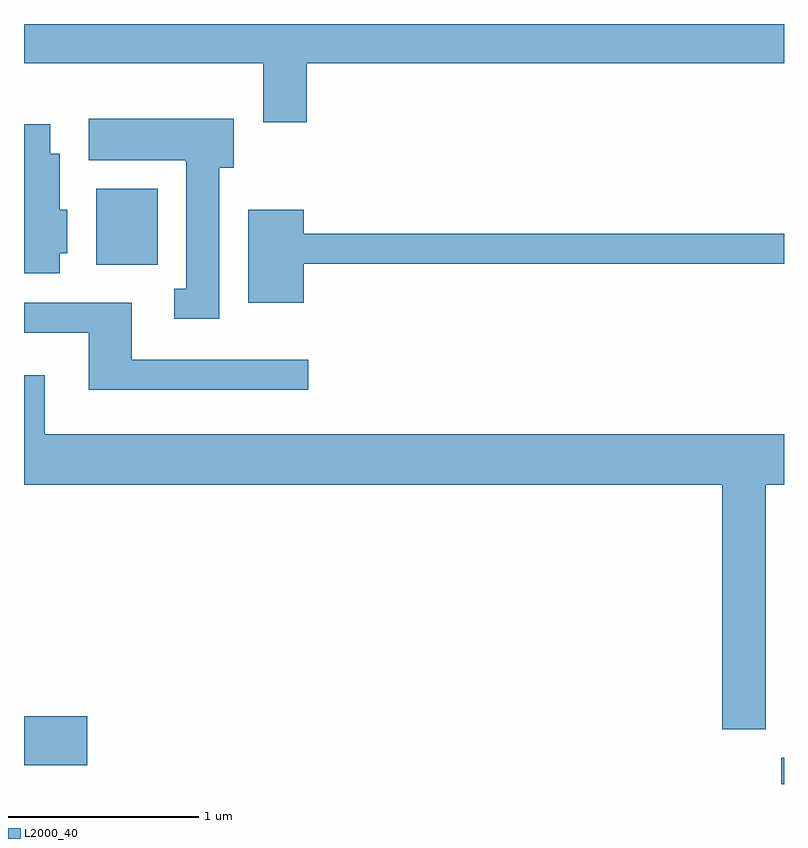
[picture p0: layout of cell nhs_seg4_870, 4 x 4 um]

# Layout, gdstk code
import gdstk
lib = gdstk.Library(unit=1e-6, precision=1e-09)
def R(c, l, rs):  # rectangles x0, y0, x1, y1
    for r in rs: c.add(gdstk.rectangle(r[:2], r[2:], *l))
def P(c, l, *ps):  # polygons
    for p in ps: c.add(gdstk.Polygon(p, *l))
L2000_40 = (2000, 40)

nhs_seg4_870 = lib.new_cell('nhs_seg4_870')
R(nhs_seg4_870, L2000_40, [(213.596,1361.982,213.611,1362.119), (209.611,1362.081,209.944,1362.339), (209.991,1364.716,210.314,1365.114)])
P(nhs_seg4_870, L2000_40, [(211.099,1365.776),(213.611,1365.776),(213.611,1365.982),(209.611,1365.982),(209.611,1365.776),(210.871,1365.776),(210.871,1365.466),(211.099,1365.466)],
  [(210.639,1365.226),(210.714,1365.226),(210.714,1365.484),(209.951,1365.484),(209.951,1365.266),(210.46,1365.266),(210.46,1365.26),(210.466,1365.26),(210.466,1364.589),(210.403,1364.589),(210.403,1364.431),(210.639,1364.431)],
  [(209.799,1364.776),(209.839,1364.776),(209.839,1365.004),(209.799,1365.004),(209.799,1365.299),(209.749,1365.299),(209.749,1365.454),(209.611,1365.454),(209.611,1364.671),(209.799,1364.671)],
  [(211.084,1364.721),(213.611,1364.721),(213.611,1364.879),(211.084,1364.879),(211.084,1365.004),(210.791,1365.004),(210.791,1364.516),(211.084,1364.516)],
  [(211.108,1364.214),(210.179,1364.214),(210.179,1364.514),(209.611,1364.514),(209.611,1364.356),(209.951,1364.356),(209.951,1364.056),(211.108,1364.056)],
  [(213.514,1363.556),(213.611,1363.556),(213.611,1363.824),(209.719,1363.824),(209.719,1364.134),(209.611,1364.134),(209.611,1363.556),(213.286,1363.556),(213.286,1362.271),(213.514,1362.271)])

lib.write_gds('nhs_seg4_870.gds')
